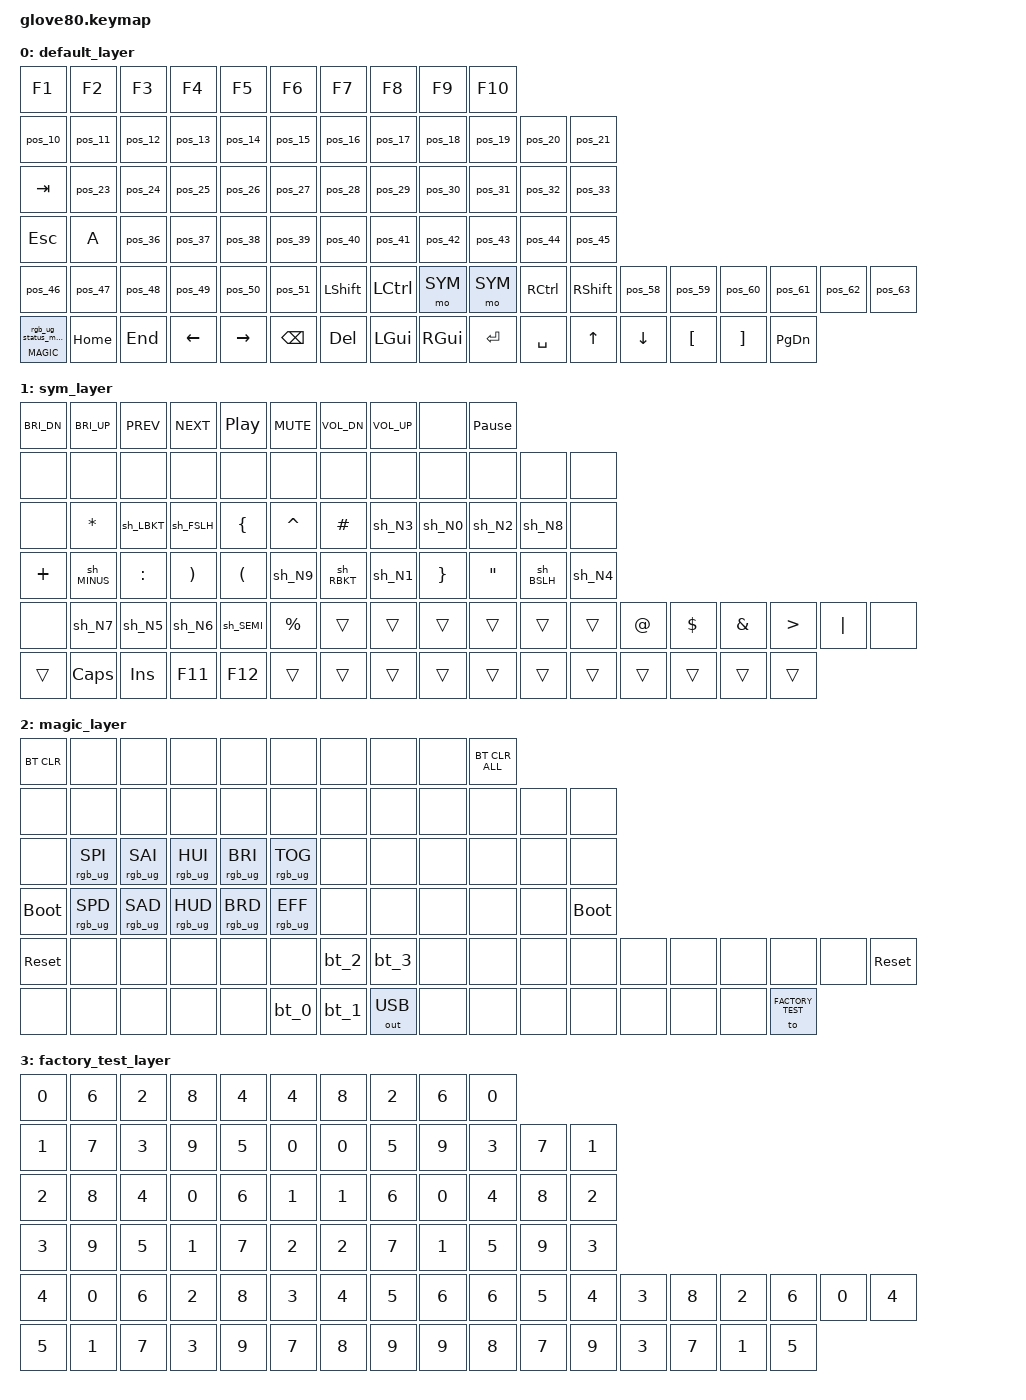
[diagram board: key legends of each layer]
/*
 * Generated by tools/zmk.py from layouts/best.txt. Based on MoErgo's factory Glove80 keymap.
 * Copyright (c) 2020 The ZMK Contributors
 * SPDX-License-Identifier: MIT
 */

#include <behaviors.dtsi>
#include <dt-bindings/zmk/keys.h>
#include <dt-bindings/zmk/bt.h>
#include <dt-bindings/zmk/ext_power.h>
#include <dt-bindings/zmk/outputs.h>
#include <dt-bindings/zmk/rgb.h>

#define DEFAULT 0
#define SYM 1
#define MAGIC 2
#define FACTORY_TEST 3

/ {
    behaviors {
        magic: magic_hold_tap {
            compatible = "zmk,behavior-hold-tap";
            label = "MAGIC_HOLD_TAP";
            #binding-cells = <2>;
            flavor = "tap-preferred";
            tapping-term-ms = <200>;
            bindings = <&mo>, <&rgb_ug_status_macro>;
        };
        sh_BSLH: sh_BSLH {
            compatible = "zmk,behavior-mod-morph";
            label = "SH_BSLH";
            #binding-cells = <0>;
            bindings = <&kp BSLH>, <&kp BSLH>;
            mods = <(MOD_LSFT|MOD_RSFT)>;
        };
        sh_COMMA: sh_COMMA {
            compatible = "zmk,behavior-mod-morph";
            label = "SH_COMMA";
            #binding-cells = <0>;
            bindings = <&kp COMMA>, <&kp COMMA>;
            mods = <(MOD_LSFT|MOD_RSFT)>;
        };
        sh_DOT: sh_DOT {
            compatible = "zmk,behavior-mod-morph";
            label = "SH_DOT";
            #binding-cells = <0>;
            bindings = <&kp DOT>, <&kp DOT>;
            mods = <(MOD_LSFT|MOD_RSFT)>;
        };
        sh_EQUAL: sh_EQUAL {
            compatible = "zmk,behavior-mod-morph";
            label = "SH_EQUAL";
            #binding-cells = <0>;
            bindings = <&kp EQUAL>, <&kp EQUAL>;
            mods = <(MOD_LSFT|MOD_RSFT)>;
        };
        sh_FSLH: sh_FSLH {
            compatible = "zmk,behavior-mod-morph";
            label = "SH_FSLH";
            #binding-cells = <0>;
            bindings = <&kp FSLH>, <&kp FSLH>;
            mods = <(MOD_LSFT|MOD_RSFT)>;
        };
        sh_GRAVE: sh_GRAVE {
            compatible = "zmk,behavior-mod-morph";
            label = "SH_GRAVE";
            #binding-cells = <0>;
            bindings = <&kp GRAVE>, <&kp GRAVE>;
            mods = <(MOD_LSFT|MOD_RSFT)>;
        };
        sh_LBKT: sh_LBKT {
            compatible = "zmk,behavior-mod-morph";
            label = "SH_LBKT";
            #binding-cells = <0>;
            bindings = <&kp LBKT>, <&kp LBKT>;
            mods = <(MOD_LSFT|MOD_RSFT)>;
        };
        sh_MINUS: sh_MINUS {
            compatible = "zmk,behavior-mod-morph";
            label = "SH_MINUS";
            #binding-cells = <0>;
            bindings = <&kp MINUS>, <&kp MINUS>;
            mods = <(MOD_LSFT|MOD_RSFT)>;
        };
        sh_N0: sh_N0 {
            compatible = "zmk,behavior-mod-morph";
            label = "SH_N0";
            #binding-cells = <0>;
            bindings = <&kp N0>, <&kp N0>;
            mods = <(MOD_LSFT|MOD_RSFT)>;
        };
        sh_N1: sh_N1 {
            compatible = "zmk,behavior-mod-morph";
            label = "SH_N1";
            #binding-cells = <0>;
            bindings = <&kp N1>, <&kp N1>;
            mods = <(MOD_LSFT|MOD_RSFT)>;
        };
        sh_N2: sh_N2 {
            compatible = "zmk,behavior-mod-morph";
            label = "SH_N2";
            #binding-cells = <0>;
            bindings = <&kp N2>, <&kp N2>;
            mods = <(MOD_LSFT|MOD_RSFT)>;
        };
        sh_N3: sh_N3 {
            compatible = "zmk,behavior-mod-morph";
            label = "SH_N3";
            #binding-cells = <0>;
            bindings = <&kp N3>, <&kp N3>;
            mods = <(MOD_LSFT|MOD_RSFT)>;
        };
        sh_N4: sh_N4 {
            compatible = "zmk,behavior-mod-morph";
            label = "SH_N4";
            #binding-cells = <0>;
            bindings = <&kp N4>, <&kp N4>;
            mods = <(MOD_LSFT|MOD_RSFT)>;
        };
        sh_N5: sh_N5 {
            compatible = "zmk,behavior-mod-morph";
            label = "SH_N5";
            #binding-cells = <0>;
            bindings = <&kp N5>, <&kp N5>;
            mods = <(MOD_LSFT|MOD_RSFT)>;
        };
        sh_N6: sh_N6 {
            compatible = "zmk,behavior-mod-morph";
            label = "SH_N6";
            #binding-cells = <0>;
            bindings = <&kp N6>, <&kp N6>;
            mods = <(MOD_LSFT|MOD_RSFT)>;
        };
        sh_N7: sh_N7 {
            compatible = "zmk,behavior-mod-morph";
            label = "SH_N7";
            #binding-cells = <0>;
            bindings = <&kp N7>, <&kp N7>;
            mods = <(MOD_LSFT|MOD_RSFT)>;
        };
        sh_N8: sh_N8 {
            compatible = "zmk,behavior-mod-morph";
            label = "SH_N8";
            #binding-cells = <0>;
            bindings = <&kp N8>, <&kp N8>;
            mods = <(MOD_LSFT|MOD_RSFT)>;
        };
        sh_N9: sh_N9 {
            compatible = "zmk,behavior-mod-morph";
            label = "SH_N9";
            #binding-cells = <0>;
            bindings = <&kp N9>, <&kp N9>;
            mods = <(MOD_LSFT|MOD_RSFT)>;
        };
        sh_RBKT: sh_RBKT {
            compatible = "zmk,behavior-mod-morph";
            label = "SH_RBKT";
            #binding-cells = <0>;
            bindings = <&kp RBKT>, <&kp RBKT>;
            mods = <(MOD_LSFT|MOD_RSFT)>;
        };
        sh_SEMI: sh_SEMI {
            compatible = "zmk,behavior-mod-morph";
            label = "SH_SEMI";
            #binding-cells = <0>;
            bindings = <&kp SEMI>, <&kp SEMI>;
            mods = <(MOD_LSFT|MOD_RSFT)>;
        };
        sh_SQT: sh_SQT {
            compatible = "zmk,behavior-mod-morph";
            label = "SH_SQT";
            #binding-cells = <0>;
            bindings = <&kp SQT>, <&kp SQT>;
            mods = <(MOD_LSFT|MOD_RSFT)>;
        };
        pos_10: pos_10 {
            compatible = "zmk,behavior-mod-morph";
            label = "POS_10";
            #binding-cells = <0>;
            bindings = <&none>, <&kp EQUAL>;
            mods = <(MOD_LCTL|MOD_RCTL|MOD_LGUI|MOD_RGUI)>;
            keep-mods = <(MOD_LCTL|MOD_RCTL|MOD_LGUI|MOD_RGUI)>;
        };
        pos_11: pos_11 {
            compatible = "zmk,behavior-mod-morph";
            label = "POS_11";
            #binding-cells = <0>;
            bindings = <&none>, <&kp N1>;
            mods = <(MOD_LCTL|MOD_RCTL|MOD_LGUI|MOD_RGUI)>;
            keep-mods = <(MOD_LCTL|MOD_RCTL|MOD_LGUI|MOD_RGUI)>;
        };
        pos_12: pos_12 {
            compatible = "zmk,behavior-mod-morph";
            label = "POS_12";
            #binding-cells = <0>;
            bindings = <&none>, <&kp N2>;
            mods = <(MOD_LCTL|MOD_RCTL|MOD_LGUI|MOD_RGUI)>;
            keep-mods = <(MOD_LCTL|MOD_RCTL|MOD_LGUI|MOD_RGUI)>;
        };
        pos_13: pos_13 {
            compatible = "zmk,behavior-mod-morph";
            label = "POS_13";
            #binding-cells = <0>;
            bindings = <&none>, <&kp N3>;
            mods = <(MOD_LCTL|MOD_RCTL|MOD_LGUI|MOD_RGUI)>;
            keep-mods = <(MOD_LCTL|MOD_RCTL|MOD_LGUI|MOD_RGUI)>;
        };
        pos_14: pos_14 {
            compatible = "zmk,behavior-mod-morph";
            label = "POS_14";
            #binding-cells = <0>;
            bindings = <&kp TILDE>, <&kp N4>;
            mods = <(MOD_LCTL|MOD_RCTL|MOD_LGUI|MOD_RGUI)>;
            keep-mods = <(MOD_LCTL|MOD_RCTL|MOD_LGUI|MOD_RGUI)>;
        };
        pos_15: pos_15 {
            compatible = "zmk,behavior-mod-morph";
            label = "POS_15";
            #binding-cells = <0>;
            bindings = <&none>, <&kp N5>;
            mods = <(MOD_LCTL|MOD_RCTL|MOD_LGUI|MOD_RGUI)>;
            keep-mods = <(MOD_LCTL|MOD_RCTL|MOD_LGUI|MOD_RGUI)>;
        };
        pos_16: pos_16 {
            compatible = "zmk,behavior-mod-morph";
            label = "POS_16";
            #binding-cells = <0>;
            bindings = <&none>, <&kp N6>;
            mods = <(MOD_LCTL|MOD_RCTL|MOD_LGUI|MOD_RGUI)>;
            keep-mods = <(MOD_LCTL|MOD_RCTL|MOD_LGUI|MOD_RGUI)>;
        };
        pos_17: pos_17 {
            compatible = "zmk,behavior-mod-morph";
            label = "POS_17";
            #binding-cells = <0>;
            bindings = <&none>, <&kp N7>;
            mods = <(MOD_LCTL|MOD_RCTL|MOD_LGUI|MOD_RGUI)>;
            keep-mods = <(MOD_LCTL|MOD_RCTL|MOD_LGUI|MOD_RGUI)>;
        };
        pos_18: pos_18 {
            compatible = "zmk,behavior-mod-morph";
            label = "POS_18";
            #binding-cells = <0>;
            bindings = <&kp Q>, <&kp N8>;
            mods = <(MOD_LCTL|MOD_RCTL|MOD_LGUI|MOD_RGUI)>;
            keep-mods = <(MOD_LCTL|MOD_RCTL|MOD_LGUI|MOD_RGUI)>;
        };
        pos_19: pos_19 {
            compatible = "zmk,behavior-mod-morph";
            label = "POS_19";
            #binding-cells = <0>;
            bindings = <&none>, <&kp N9>;
            mods = <(MOD_LCTL|MOD_RCTL|MOD_LGUI|MOD_RGUI)>;
            keep-mods = <(MOD_LCTL|MOD_RCTL|MOD_LGUI|MOD_RGUI)>;
        };
        pos_20: pos_20 {
            compatible = "zmk,behavior-mod-morph";
            label = "POS_20";
            #binding-cells = <0>;
            bindings = <&none>, <&kp N0>;
            mods = <(MOD_LCTL|MOD_RCTL|MOD_LGUI|MOD_RGUI)>;
            keep-mods = <(MOD_LCTL|MOD_RCTL|MOD_LGUI|MOD_RGUI)>;
        };
        pos_21: pos_21 {
            compatible = "zmk,behavior-mod-morph";
            label = "POS_21";
            #binding-cells = <0>;
            bindings = <&none>, <&kp MINUS>;
            mods = <(MOD_LCTL|MOD_RCTL|MOD_LGUI|MOD_RGUI)>;
            keep-mods = <(MOD_LCTL|MOD_RCTL|MOD_LGUI|MOD_RGUI)>;
        };
        pos_23: pos_23 {
            compatible = "zmk,behavior-mod-morph";
            label = "POS_23";
            #binding-cells = <0>;
            bindings = <&kp UNDER>, <&kp Q>;
            mods = <(MOD_LCTL|MOD_RCTL|MOD_LGUI|MOD_RGUI)>;
            keep-mods = <(MOD_LCTL|MOD_RCTL|MOD_LGUI|MOD_RGUI)>;
        };
        pos_24: pos_24 {
            compatible = "zmk,behavior-mod-morph";
            label = "POS_24";
            #binding-cells = <0>;
            bindings = <&kp U>, <&kp W>;
            mods = <(MOD_LCTL|MOD_RCTL|MOD_LGUI|MOD_RGUI)>;
            keep-mods = <(MOD_LCTL|MOD_RCTL|MOD_LGUI|MOD_RGUI)>;
        };
        pos_25: pos_25 {
            compatible = "zmk,behavior-mod-morph";
            label = "POS_25";
            #binding-cells = <0>;
            bindings = <&kp O>, <&kp E>;
            mods = <(MOD_LCTL|MOD_RCTL|MOD_LGUI|MOD_RGUI)>;
            keep-mods = <(MOD_LCTL|MOD_RCTL|MOD_LGUI|MOD_RGUI)>;
        };
        pos_26: pos_26 {
            compatible = "zmk,behavior-mod-morph";
            label = "POS_26";
            #binding-cells = <0>;
            bindings = <&kp P>, <&kp R>;
            mods = <(MOD_LCTL|MOD_RCTL|MOD_LGUI|MOD_RGUI)>;
            keep-mods = <(MOD_LCTL|MOD_RCTL|MOD_LGUI|MOD_RGUI)>;
        };
        pos_27: pos_27 {
            compatible = "zmk,behavior-mod-morph";
            label = "POS_27";
            #binding-cells = <0>;
            bindings = <&kp QMARK>, <&kp T>;
            mods = <(MOD_LCTL|MOD_RCTL|MOD_LGUI|MOD_RGUI)>;
            keep-mods = <(MOD_LCTL|MOD_RCTL|MOD_LGUI|MOD_RGUI)>;
        };
        pos_28: pos_28 {
            compatible = "zmk,behavior-mod-morph";
            label = "POS_28";
            #binding-cells = <0>;
            bindings = <&kp X>, <&kp Y>;
            mods = <(MOD_LCTL|MOD_RCTL|MOD_LGUI|MOD_RGUI)>;
            keep-mods = <(MOD_LCTL|MOD_RCTL|MOD_LGUI|MOD_RGUI)>;
        };
        pos_29: pos_29 {
            compatible = "zmk,behavior-mod-morph";
            label = "POS_29";
            #binding-cells = <0>;
            bindings = <&kp L>, <&kp U>;
            mods = <(MOD_LCTL|MOD_RCTL|MOD_LGUI|MOD_RGUI)>;
            keep-mods = <(MOD_LCTL|MOD_RCTL|MOD_LGUI|MOD_RGUI)>;
        };
        pos_30: pos_30 {
            compatible = "zmk,behavior-mod-morph";
            label = "POS_30";
            #binding-cells = <0>;
            bindings = <&kp D>, <&kp I>;
            mods = <(MOD_LCTL|MOD_RCTL|MOD_LGUI|MOD_RGUI)>;
            keep-mods = <(MOD_LCTL|MOD_RCTL|MOD_LGUI|MOD_RGUI)>;
        };
        pos_31: pos_31 {
            compatible = "zmk,behavior-mod-morph";
            label = "POS_31";
            #binding-cells = <0>;
            bindings = <&kp F>, <&kp O>;
            mods = <(MOD_LCTL|MOD_RCTL|MOD_LGUI|MOD_RGUI)>;
            keep-mods = <(MOD_LCTL|MOD_RCTL|MOD_LGUI|MOD_RGUI)>;
        };
        pos_32: pos_32 {
            compatible = "zmk,behavior-mod-morph";
            label = "POS_32";
            #binding-cells = <0>;
            bindings = <&kp V>, <&kp P>;
            mods = <(MOD_LCTL|MOD_RCTL|MOD_LGUI|MOD_RGUI)>;
            keep-mods = <(MOD_LCTL|MOD_RCTL|MOD_LGUI|MOD_RGUI)>;
        };
        pos_33: pos_33 {
            compatible = "zmk,behavior-mod-morph";
            label = "POS_33";
            #binding-cells = <0>;
            bindings = <&kp Z>, <&kp BSLH>;
            mods = <(MOD_LCTL|MOD_RCTL|MOD_LGUI|MOD_RGUI)>;
            keep-mods = <(MOD_LCTL|MOD_RCTL|MOD_LGUI|MOD_RGUI)>;
        };
        pos_36: pos_36 {
            compatible = "zmk,behavior-mod-morph";
            label = "POS_36";
            #binding-cells = <0>;
            bindings = <&kp I>, <&kp S>;
            mods = <(MOD_LCTL|MOD_RCTL|MOD_LGUI|MOD_RGUI)>;
            keep-mods = <(MOD_LCTL|MOD_RCTL|MOD_LGUI|MOD_RGUI)>;
        };
        pos_37: pos_37 {
            compatible = "zmk,behavior-mod-morph";
            label = "POS_37";
            #binding-cells = <0>;
            bindings = <&kp E>, <&kp D>;
            mods = <(MOD_LCTL|MOD_RCTL|MOD_LGUI|MOD_RGUI)>;
            keep-mods = <(MOD_LCTL|MOD_RCTL|MOD_LGUI|MOD_RGUI)>;
        };
        pos_38: pos_38 {
            compatible = "zmk,behavior-mod-morph";
            label = "POS_38";
            #binding-cells = <0>;
            bindings = <&kp N>, <&kp F>;
            mods = <(MOD_LCTL|MOD_RCTL|MOD_LGUI|MOD_RGUI)>;
            keep-mods = <(MOD_LCTL|MOD_RCTL|MOD_LGUI|MOD_RGUI)>;
        };
        pos_39: pos_39 {
            compatible = "zmk,behavior-mod-morph";
            label = "POS_39";
            #binding-cells = <0>;
            bindings = <&kp B>, <&kp G>;
            mods = <(MOD_LCTL|MOD_RCTL|MOD_LGUI|MOD_RGUI)>;
            keep-mods = <(MOD_LCTL|MOD_RCTL|MOD_LGUI|MOD_RGUI)>;
        };
        pos_40: pos_40 {
            compatible = "zmk,behavior-mod-morph";
            label = "POS_40";
            #binding-cells = <0>;
            bindings = <&kp K>, <&kp H>;
            mods = <(MOD_LCTL|MOD_RCTL|MOD_LGUI|MOD_RGUI)>;
            keep-mods = <(MOD_LCTL|MOD_RCTL|MOD_LGUI|MOD_RGUI)>;
        };
        pos_41: pos_41 {
            compatible = "zmk,behavior-mod-morph";
            label = "POS_41";
            #binding-cells = <0>;
            bindings = <&kp R>, <&kp J>;
            mods = <(MOD_LCTL|MOD_RCTL|MOD_LGUI|MOD_RGUI)>;
            keep-mods = <(MOD_LCTL|MOD_RCTL|MOD_LGUI|MOD_RGUI)>;
        };
        pos_42: pos_42 {
            compatible = "zmk,behavior-mod-morph";
            label = "POS_42";
            #binding-cells = <0>;
            bindings = <&kp T>, <&kp K>;
            mods = <(MOD_LCTL|MOD_RCTL|MOD_LGUI|MOD_RGUI)>;
            keep-mods = <(MOD_LCTL|MOD_RCTL|MOD_LGUI|MOD_RGUI)>;
        };
        pos_43: pos_43 {
            compatible = "zmk,behavior-mod-morph";
            label = "POS_43";
            #binding-cells = <0>;
            bindings = <&kp S>, <&kp L>;
            mods = <(MOD_LCTL|MOD_RCTL|MOD_LGUI|MOD_RGUI)>;
            keep-mods = <(MOD_LCTL|MOD_RCTL|MOD_LGUI|MOD_RGUI)>;
        };
        pos_44: pos_44 {
            compatible = "zmk,behavior-mod-morph";
            label = "POS_44";
            #binding-cells = <0>;
            bindings = <&kp C>, <&kp SEMI>;
            mods = <(MOD_LCTL|MOD_RCTL|MOD_LGUI|MOD_RGUI)>;
            keep-mods = <(MOD_LCTL|MOD_RCTL|MOD_LGUI|MOD_RGUI)>;
        };
        pos_45: pos_45 {
            compatible = "zmk,behavior-mod-morph";
            label = "POS_45";
            #binding-cells = <0>;
            bindings = <&kp Y>, <&kp SQT>;
            mods = <(MOD_LCTL|MOD_RCTL|MOD_LGUI|MOD_RGUI)>;
            keep-mods = <(MOD_LCTL|MOD_RCTL|MOD_LGUI|MOD_RGUI)>;
        };
        pos_46: pos_46 {
            compatible = "zmk,behavior-mod-morph";
            label = "POS_46";
            #binding-cells = <0>;
            bindings = <&kp EXCL>, <&kp GRAVE>;
            mods = <(MOD_LCTL|MOD_RCTL|MOD_LGUI|MOD_RGUI)>;
            keep-mods = <(MOD_LCTL|MOD_RCTL|MOD_LGUI|MOD_RGUI)>;
        };
        pos_47: pos_47 {
            compatible = "zmk,behavior-mod-morph";
            label = "POS_47";
            #binding-cells = <0>;
            bindings = <&sh_SQT>, <&kp Z>;
            mods = <(MOD_LCTL|MOD_RCTL|MOD_LGUI|MOD_RGUI)>;
            keep-mods = <(MOD_LCTL|MOD_RCTL|MOD_LGUI|MOD_RGUI)>;
        };
        pos_48: pos_48 {
            compatible = "zmk,behavior-mod-morph";
            label = "POS_48";
            #binding-cells = <0>;
            bindings = <&sh_COMMA>, <&kp X>;
            mods = <(MOD_LCTL|MOD_RCTL|MOD_LGUI|MOD_RGUI)>;
            keep-mods = <(MOD_LCTL|MOD_RCTL|MOD_LGUI|MOD_RGUI)>;
        };
        pos_49: pos_49 {
            compatible = "zmk,behavior-mod-morph";
            label = "POS_49";
            #binding-cells = <0>;
            bindings = <&sh_EQUAL>, <&kp C>;
            mods = <(MOD_LCTL|MOD_RCTL|MOD_LGUI|MOD_RGUI)>;
            keep-mods = <(MOD_LCTL|MOD_RCTL|MOD_LGUI|MOD_RGUI)>;
        };
        pos_50: pos_50 {
            compatible = "zmk,behavior-mod-morph";
            label = "POS_50";
            #binding-cells = <0>;
            bindings = <&sh_DOT>, <&kp V>;
            mods = <(MOD_LCTL|MOD_RCTL|MOD_LGUI|MOD_RGUI)>;
            keep-mods = <(MOD_LCTL|MOD_RCTL|MOD_LGUI|MOD_RGUI)>;
        };
        pos_51: pos_51 {
            compatible = "zmk,behavior-mod-morph";
            label = "POS_51";
            #binding-cells = <0>;
            bindings = <&kp LT>, <&kp B>;
            mods = <(MOD_LCTL|MOD_RCTL|MOD_LGUI|MOD_RGUI)>;
            keep-mods = <(MOD_LCTL|MOD_RCTL|MOD_LGUI|MOD_RGUI)>;
        };
        pos_58: pos_58 {
            compatible = "zmk,behavior-mod-morph";
            label = "POS_58";
            #binding-cells = <0>;
            bindings = <&kp J>, <&kp N>;
            mods = <(MOD_LCTL|MOD_RCTL|MOD_LGUI|MOD_RGUI)>;
            keep-mods = <(MOD_LCTL|MOD_RCTL|MOD_LGUI|MOD_RGUI)>;
        };
        pos_59: pos_59 {
            compatible = "zmk,behavior-mod-morph";
            label = "POS_59";
            #binding-cells = <0>;
            bindings = <&kp H>, <&kp M>;
            mods = <(MOD_LCTL|MOD_RCTL|MOD_LGUI|MOD_RGUI)>;
            keep-mods = <(MOD_LCTL|MOD_RCTL|MOD_LGUI|MOD_RGUI)>;
        };
        pos_60: pos_60 {
            compatible = "zmk,behavior-mod-morph";
            label = "POS_60";
            #binding-cells = <0>;
            bindings = <&kp M>, <&kp COMMA>;
            mods = <(MOD_LCTL|MOD_RCTL|MOD_LGUI|MOD_RGUI)>;
            keep-mods = <(MOD_LCTL|MOD_RCTL|MOD_LGUI|MOD_RGUI)>;
        };
        pos_61: pos_61 {
            compatible = "zmk,behavior-mod-morph";
            label = "POS_61";
            #binding-cells = <0>;
            bindings = <&kp G>, <&kp DOT>;
            mods = <(MOD_LCTL|MOD_RCTL|MOD_LGUI|MOD_RGUI)>;
            keep-mods = <(MOD_LCTL|MOD_RCTL|MOD_LGUI|MOD_RGUI)>;
        };
        pos_62: pos_62 {
            compatible = "zmk,behavior-mod-morph";
            label = "POS_62";
            #binding-cells = <0>;
            bindings = <&kp W>, <&kp FSLH>;
            mods = <(MOD_LCTL|MOD_RCTL|MOD_LGUI|MOD_RGUI)>;
            keep-mods = <(MOD_LCTL|MOD_RCTL|MOD_LGUI|MOD_RGUI)>;
        };
        pos_63: pos_63 {
            compatible = "zmk,behavior-mod-morph";
            label = "POS_63";
            #binding-cells = <0>;
            bindings = <&sh_GRAVE>, <&kp PG_UP>;
            mods = <(MOD_LCTL|MOD_RCTL|MOD_LGUI|MOD_RGUI)>;
            keep-mods = <(MOD_LCTL|MOD_RCTL|MOD_LGUI|MOD_RGUI)>;
        };
    };

    macros {
        rgb_ug_status_macro: rgb_ug_status_macro_0 {
            label = "RGB_UG_STATUS";
            compatible = "zmk,behavior-macro";
            #binding-cells = <0>;
            bindings = <&rgb_ug RGB_STATUS>;
        };
        bt_0: bt_profile_macro_0 {
            label = "BT_0";
            compatible = "zmk,behavior-macro";
            #binding-cells = <0>;
            bindings = <&out OUT_BLE>, <&bt BT_SEL 0>;
        };
        bt_1: bt_profile_macro_1 {
            label = "BT_1";
            compatible = "zmk,behavior-macro";
            #binding-cells = <0>;
            bindings = <&out OUT_BLE>, <&bt BT_SEL 1>;
        };
        bt_2: bt_profile_macro_2 {
            label = "BT_2";
            compatible = "zmk,behavior-macro";
            #binding-cells = <0>;
            bindings = <&out OUT_BLE>, <&bt BT_SEL 2>;
        };
        bt_3: bt_profile_macro_3 {
            label = "BT_3";
            compatible = "zmk,behavior-macro";
            #binding-cells = <0>;
            bindings = <&out OUT_BLE>, <&bt BT_SEL 3>;
        };
    };

    keymap {
        compatible = "zmk,keymap";

        default_layer {
            bindings = <
            &kp F1 &kp F2 &kp F3 &kp F4 &kp F5 &kp F6 &kp F7 &kp F8 &kp F9 &kp F10
            &pos_10 &pos_11 &pos_12 &pos_13 &pos_14 &pos_15 &pos_16 &pos_17 &pos_18 &pos_19 &pos_20 &pos_21
            &kp TAB &pos_23 &pos_24 &pos_25 &pos_26 &pos_27 &pos_28 &pos_29 &pos_30 &pos_31 &pos_32 &pos_33
            &kp ESC &kp A &pos_36 &pos_37 &pos_38 &pos_39 &pos_40 &pos_41 &pos_42 &pos_43 &pos_44 &pos_45
            &pos_46 &pos_47 &pos_48 &pos_49 &pos_50 &pos_51 &kp LSHFT &kp LCTRL &mo SYM &mo SYM &kp RCTRL &kp RSHFT &pos_58 &pos_59 &pos_60 &pos_61 &pos_62 &pos_63
            &magic MAGIC 0 &kp HOME &kp END &kp LEFT &kp RIGHT &kp BSPC &kp DEL &kp LGUI &kp RGUI &kp RET &kp SPACE &kp UP &kp DOWN &kp LBKT &kp RBKT &kp PG_DN
            >;
        };

        sym_layer {
            bindings = <
            &kp C_BRI_DN &kp C_BRI_UP &kp C_PREV &kp C_NEXT &kp C_PP &kp C_MUTE &kp C_VOL_DN &kp C_VOL_UP &none &kp PAUSE_BREAK
            &none &none &none &none &none &none &none &none &none &none &none &none
            &none &kp STAR &sh_LBKT &sh_FSLH &kp LBRC &kp CARET &kp HASH &sh_N3 &sh_N0 &sh_N2 &sh_N8 &none
            &kp PLUS &sh_MINUS &kp COLON &kp RPAR &kp LPAR &sh_N9 &sh_RBKT &sh_N1 &kp RBRC &kp DQT &sh_BSLH &sh_N4
            &none &sh_N7 &sh_N5 &sh_N6 &sh_SEMI &kp PRCNT &trans &trans &trans &trans &trans &trans &kp AT &kp DLLR &kp AMPS &kp GT &kp PIPE &none
            &trans &kp CAPS &kp INS &kp F11 &kp F12 &trans &trans &trans &trans &trans &trans &trans &trans &trans &trans &trans
            >;
        };

        magic_layer {
            bindings = <
            &bt BT_CLR &none &none &none &none &none &none &none &none &bt BT_CLR_ALL
            &none &none &none &none &none &none &none &none &none &none &none &none
            &none &rgb_ug RGB_SPI &rgb_ug RGB_SAI &rgb_ug RGB_HUI &rgb_ug RGB_BRI &rgb_ug RGB_TOG &none &none &none &none &none &none
            &bootloader &rgb_ug RGB_SPD &rgb_ug RGB_SAD &rgb_ug RGB_HUD &rgb_ug RGB_BRD &rgb_ug RGB_EFF &none &none &none &none &none &bootloader
            &sys_reset &none &none &none &none &none &bt_2 &bt_3 &none &none &none &none &none &none &none &none &none &sys_reset
            &none &none &none &none &none &bt_0 &bt_1 &out OUT_USB &none &none &none &none &none &none &none &to FACTORY_TEST
            >;
        };

        factory_test_layer {
            bindings = <
            &kp N0 &kp N6 &kp N2 &kp N8 &kp N4 &kp N4 &kp N8 &kp N2 &kp N6 &kp N0
            &kp N1 &kp N7 &kp N3 &kp N9 &kp N5 &kp N0 &kp N0 &kp N5 &kp N9 &kp N3 &kp N7 &kp N1
            &kp N2 &kp N8 &kp N4 &kp N0 &kp N6 &kp N1 &kp N1 &kp N6 &kp N0 &kp N4 &kp N8 &kp N2
            &kp N3 &kp N9 &kp N5 &kp N1 &kp N7 &kp N2 &kp N2 &kp N7 &kp N1 &kp N5 &kp N9 &kp N3
            &kp N4 &kp N0 &kp N6 &kp N2 &kp N8 &kp N3 &kp N4 &kp N5 &kp N6 &kp N6 &kp N5 &kp N4 &kp N3 &kp N8 &kp N2 &kp N6 &kp N0 &kp N4
            &kp N5 &kp N1 &kp N7 &kp N3 &kp N9 &kp N7 &kp N8 &kp N9 &kp N9 &kp N8 &kp N7 &kp N9 &kp N3 &kp N7 &kp N1 &kp N5
            >;
        };
    };
};
